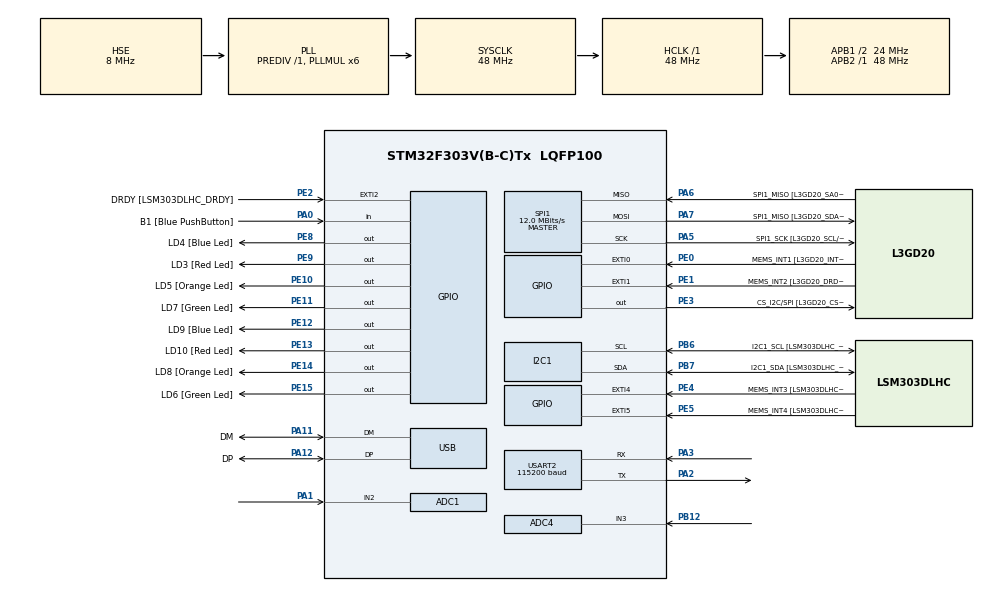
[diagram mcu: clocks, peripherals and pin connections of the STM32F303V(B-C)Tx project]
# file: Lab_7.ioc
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ADC1.Channel-0\#ChannelRegularConversion=ADC_CHANNEL_2
ADC1.ContinuousConvMode=ENABLE
ADC1.NbrOfConversion=1
ADC1.NbrOfConversionFlag=1
ADC1.Offset-0\#ChannelRegularConversion=0
ADC1.OffsetNumber-0\#ChannelRegularConversion=ADC_OFFSET_NONE
ADC1.Rank-0\#ChannelRegularConversion=1
ADC1.SamplingTime-0\#ChannelRegularConversion=ADC_SAMPLETIME_601CYCLES_5
ADC1.SamplingTimeOPAMP-0\#ChannelRegularConversion=ADC_SAMPLETIME_19CYCLES_5
ADC1.master=1
ADC4.Channel-0\#ChannelRegularConversion=ADC_CHANNEL_3
ADC4.ContinuousConvMode=ENABLE
ADC4.NbrOfConversionFlag=1
ADC4.Offset-0\#ChannelRegularConversion=0
ADC4.OffsetNumber-0\#ChannelRegularConversion=ADC_OFFSET_NONE
ADC4.Rank-0\#ChannelRegularConversion=1
ADC4.SamplingTime-0\#ChannelRegularConversion=ADC_SAMPLETIME_601CYCLES_5
ADC4.SamplingTimeOPAMP-0\#ChannelRegularConversion=ADC_SAMPLETIME_19CYCLES_5
I2C1.Timing=0x2000090E
I2C1.Timing-I2C=0x2000090E
Mcu.Family=STM32F3
Mcu.Name=STM32F303V(B-C)Tx
Mcu.Package=LQFP100
NVIC.ADC1_2_IRQn=true\:0\:0\:false\:false\:true\:true\:true\:true
NVIC.PriorityGroup=NVIC_PRIORITYGROUP_0
PA0.GPIO_Label=B1 [Blue PushButton]
PA0.Signal=GPIO_Input
PA1.Mode=IN2-Single-Ended
PA1.Signal=ADC1_IN2
PA11.GPIO_Label=DM
PA11.Mode=Device
PA11.Signal=USB_DM
PA12.GPIO_Label=DP
PA12.Mode=Device
PA12.Signal=USB_DP
PA13.GPIO_Label=SWDIO
PA13.Mode=Serial_Wire
PA13.Signal=SYS_JTMS-SWDIO
PA14.GPIO_Label=SWCLK
PA14.Mode=Serial_Wire
PA14.Signal=SYS_JTCK-SWCLK
PA2.Mode=Asynchronous
PA2.Signal=USART2_TX
PA3.Mode=Asynchronous
PA3.Signal=USART2_RX
PA5.GPIO_Label=SPI1_SCK [L3GD20_SCL/SPC]
PA5.Mode=Full_Duplex_Master
PA5.Signal=SPI1_SCK
PA6.GPIO_Label=SPI1_MISO [L3GD20_SA0/SDO]
PA6.Mode=Full_Duplex_Master
PA6.Signal=SPI1_MISO
PA7.GPIO_Label=SPI1_MISO [L3GD20_SDA/SDI/SDO]
PA7.Mode=Full_Duplex_Master
PA7.Signal=SPI1_MOSI
PB12.Mode=IN3-Single-Ended
PB12.Signal=ADC4_IN3
PB3.GPIO_Label=SWO
PB3.Signal=SYS_JTDO-TRACESWO
PB6.GPIO_Label=I2C1_SCL [LSM303DLHC_SCL]
PB6.GPIO_Pu=GPIO_PULLUP
PB6.Mode=I2C
PB6.Signal=I2C1_SCL
PB7.GPIO_Label=I2C1_SDA [LSM303DLHC_SDA]
PB7.GPIO_Pu=GPIO_PULLUP
PB7.Mode=I2C
PB7.Signal=I2C1_SDA
PC14-OSC32_IN.GPIO_Label=OSC32_IN
PC14-OSC32_IN.Signal=RCC_OSC32_IN
PC15-OSC32_OUT.GPIO_Label=OSC32_OUT
PC15-OSC32_OUT.Signal=RCC_OSC32_OUT
PE0.GPIO_Label=MEMS_INT1 [L3GD20_INT1]
PE0.GPIO_ModeDefaultEXTI=GPIO_MODE_EVT_RISING
PE0.Signal=GPXTI0
PE1.GPIO_Label=MEMS_INT2 [L3GD20_DRDY/INT2]
PE1.GPIO_ModeDefaultEXTI=GPIO_MODE_EVT_RISING
PE1.Signal=GPXTI1
PE10.GPIO_Label=LD5 [Orange Led]
PE10.Signal=GPIO_Output
PE11.GPIO_Label=LD7 [Green Led]
PE11.Signal=GPIO_Output
PE12.GPIO_Label=LD9 [Blue Led]
PE12.Signal=GPIO_Output
PE13.GPIO_Label=LD10 [Red Led]
PE13.Signal=GPIO_Output
PE14.GPIO_Label=LD8 [Orange Led]
PE14.Signal=GPIO_Output
PE15.GPIO_Label=LD6 [Green Led]
PE15.Signal=GPIO_Output
PE2.GPIO_Label=DRDY [LSM303DLHC_DRDY]
PE2.GPIO_ModeDefaultEXTI=GPIO_MODE_EVT_RISING
PE2.Signal=GPXTI2
PE3.GPIO_Label=CS_I2C/SPI [L3GD20_CS_I2C/SPI]
PE3.Signal=GPIO_Output
PE4.GPIO_Label=MEMS_INT3 [LSM303DLHC_INT1]
PE4.GPIO_ModeDefaultEXTI=GPIO_MODE_EVT_RISING
PE4.Signal=GPXTI4
PE5.GPIO_Label=MEMS_INT4 [LSM303DLHC_INT2]
PE5.GPIO_ModeDefaultEXTI=GPIO_MODE_EVT_RISING
PE5.Signal=GPXTI5
PE8.GPIO_Label=LD4 [Blue Led]
PE8.Signal=GPIO_Output
PE9.GPIO_Label=LD3 [Red Led]
PE9.Signal=GPIO_Output
PF0-OSC_IN.GPIO_Label=OSC_IN
PF0-OSC_IN.Mode=HSE-External-Clock-Source
PF0-OSC_IN.Signal=RCC_OSC_IN
PF1-OSC_OUT.GPIO_Label=OSC_OUT
PF1-OSC_OUT.Signal=RCC_OSC_OUT
ProjectManager.HeapSize=0x200
ProjectManager.StackSize=0x400
ProjectManager.TargetToolchain=CMake
RCC.AHBFreq_Value=48000000
RCC.APB1CLKDivider=RCC_HCLK_DIV2
RCC.APB1Freq_Value=24000000
RCC.APB1TimFreq_Value=48000000
RCC.APB2Freq_Value=48000000
RCC.APB2TimFreq_Value=48000000
RCC.CortexFreq_Value=48000000
RCC.HCLKFreq_Value=48000000
RCC.HSE_VALUE=8000000
RCC.HSI_VALUE=8000000
RCC.LSE_VALUE=32768
RCC.PLLMUL=RCC_PLL_MUL6
RCC.SYSCLKFreq_VALUE=48000000
RCC.SYSCLKSourceVirtual=RCC_SYSCLKSOURCE_PLLCLK
RCC.USBFreq_Value=48000000
SPI1.BaudRatePrescaler=SPI_BAUDRATEPRESCALER_4
SPI1.BaudRatePrescaler-Full_Duplex_Master=SPI_BAUDRATEPRESCALER_2
SPI1.CalculateBaudRate=12.0 MBits/s
SPI1.CalculateBaudRate-Full_Duplex_Master=24.0 MBits/s
SPI1.Direction=SPI_DIRECTION_2LINES
SPI1.Mode=SPI_MODE_MASTER
SPI1.Mode-Full_Duplex_Master=SPI_MODE_MASTER
SPI1.VirtualType=VM_MASTER
STMicroelectronics.X-CUBE-ALGOBUILD.1.4.0.LibraryCcDSPOoLibraryJjDSPOoLibrary=true
USART2.BaudRate=115200
USART2.VirtualMode-Asynchronous=VM_ASYNC
VP_STMicroelectronics.X-CUBE-ALGOBUILD_VS_DSPOoLibraryJjLibrary_1.4.0_1.4.0.Mode=DSPOoLibraryJjLibrary
board=STM32F3DISCOVERY

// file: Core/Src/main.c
/* USER CODE BEGIN Header */
/**
  ******************************************************************************
  * @file           : main.c
  * @brief          : Main program body
  ******************************************************************************
  * @attention
  *
  * Copyright (c) 2026 STMicroelectronics.
  * All rights reserved.
  *
  * This software is licensed under terms that can be found in the LICENSE file
  * in the root directory of this software component.
  * If no LICENSE file comes with this software, it is provided AS-IS.
  *
  ******************************************************************************
  */
/* USER CODE END Header */
#include "main.h"

/* USER CODE BEGIN Includes */
#include "stdarg.h"
#include "stdio.h"
#include "stm32f3xx_hal.h"
#include <strings.h>
#include <string.h>
#include "arm_math.h"
/* USER CODE END Includes */

ADC_HandleTypeDef hadc1;
ADC_HandleTypeDef hadc4;

I2C_HandleTypeDef hi2c1;

SPI_HandleTypeDef hspi1;

UART_HandleTypeDef huart2;

PCD_HandleTypeDef hpcd_USB_FS;

void SystemClock_Config(void);
static void MX_GPIO_Init(void);
static void MX_ADC1_Init(void);
static void MX_I2C1_Init(void);
static void MX_SPI1_Init(void);
static void MX_USART2_UART_Init(void);
static void MX_USB_PCD_Init(void);
static void MX_ADC4_Init(void);

/* USER CODE BEGIN 0 */

void myPrintf(const char* fmt, ...)
{
  char buffer[512];

  // Step 2: Initialize the variadic argument list.
  va_list args;
  va_start(args, fmt);

  // Step 3: Format the final string using vsnprintf.
  // vsnprintf is "v" (takes a va_list) and "n" (prevents buffer overflow).
  int length = vsnprintf(buffer, sizeof(buffer), fmt, args);

  // Clean up the variadic argument list
  va_end(args);

  // Step 4: Transmit the string over UART using HAL_UART_Transmit.
  // We cast buffer to (uint8_t*) as required by the HAL library.
  if (length > 0) {
      HAL_UART_Transmit(&huart2, (uint8_t*)buffer, (uint16_t)length, HAL_MAX_DELAY);
  }
};

// TASK 1 WITH INTERRUPT;
// float voltage;
// uint32_t adcValue;
// /* This function is called automatically when the ADC finishes */
// void HAL_ADC_ConvCpltCallback(ADC_HandleTypeDef* hadc)
// {
//     if(hadc->Instance == ADC1)
//     {
//       adcValue = HAL_ADC_GetValue(hadc);

//       voltage = (float)adcValue * (3.3f / 4095.0f);

//       myPrintf("Interrupt Voltage: %0.2fV , Interrupt ADC: %4u\r\n", voltage, adcValue);
//     }
// }

//Task 2
#define FILTER_LEN 10
float32_t inputBuffer[FILTER_LEN] = {0};
uint16_t bufferIndex = 0;
float32_t filteredOutput = 0;
float32_t rawVoltage = 0;
uint32_t rawADC;
void apply_moving_average(float32_t new_sample) {
    // 1. Insert new sample into circular buffer
    inputBuffer[bufferIndex] = new_sample;
    bufferIndex = (bufferIndex + 1) % FILTER_LEN; // Increment and wrap around

    // 2. Use CMSIS-DSP to calculate the mean
    // This is optimized for the ARM Cortex-M4 hardware
    arm_mean_f32(inputBuffer, FILTER_LEN, &filteredOutput);
}

// Task 2
void HAL_ADC_ConvCpltCallback(ADC_HandleTypeDef* hadc) {
    if (hadc->Instance == ADC1) {
        rawADC = HAL_ADC_GetValue(hadc);
        rawVoltage = (float32_t)rawADC * (3.3f / 4095.0f);

        apply_moving_average(rawVoltage);

        myPrintf("%0.3f,%0.3f\r\n", rawVoltage, filteredOutput);
    }
}

/* USER CODE END 0 */

int main(void)
{

  /* MCU Configuration--------------------------------------------------------*/

  /* Reset of all peripherals, Initializes the Flash interface and the Systick. */
  HAL_Init();

  /* USER CODE BEGIN Init */
  HAL_ADC_Init(&hadc1);
  /* USER CODE END Init */

  /* Configure the system clock */
  SystemClock_Config();

  /* Initialize all configured peripherals */
  MX_GPIO_Init();
  MX_ADC1_Init();
  MX_I2C1_Init();
  MX_SPI1_Init();
  MX_USART2_UART_Init();
  MX_USB_PCD_Init();
  MX_ADC4_Init();
  /* USER CODE BEGIN 2 */
  HAL_ADC_Start_IT(&hadc1);
  /* USER CODE END 2 */

  /* Infinite loop */
  while (1)
  {

    /* USER CODE BEGIN 3 */
    // TASK 1 WITH POLLING
    // // 1. Start ADC conversion
    // HAL_ADC_Start(&hadc4);

    // // 2. Wait for conversion to finish (Timeout: 10ms)
    // if (HAL_ADC_PollForConversion(&hadc4, 10) == HAL_OK)
    // {
    //     // 3. Read the digital value
    //     adcValue = HAL_ADC_GetValue(&hadc4);
    //     voltage = adcValue * (3.3f / 4095.0f);
    //     myPrintf("ADC: %u, Voltage: %0.9f\r\n", adcValue, voltage);
    // }

    // // 5. Stop ADC and add a small delay for readability
    // HAL_ADC_Stop(&hadc4);
    // HAL_Delay(200);

    //Task 1 With Interrupt;
    //HAL_Delay(200);

    //Task 2 With Polling;
  //   HAL_ADC_Start(&hadc4); // Using ADC4 for polling as requested
  //   if (HAL_ADC_PollForConversion(&hadc4, 10) == HAL_OK) {
  //       uint32_t rawADC = HAL_ADC_GetValue(&hadc4);
  //       rawVoltage = rawADC * (3.3f / 4095.0f);

  //       apply_moving_average(rawVoltage);

  //       // Format for Python script: "Raw,Filtered\n"
  //       myPrintf("%0.3f,%0.3f\r\n", rawVoltage, filteredOutput);
  //   }
  //   HAL_ADC_Stop(&hadc4);
  //   HAL_Delay(1); // Adjust delay to match your required sampling rate
  // }
  //Task 2 With Interupts;
  HAL_Delay(20);

  /* USER CODE END 3 */
}
}

void SystemClock_Config(void)
{
  RCC_OscInitTypeDef RCC_OscInitStruct = {0};
  RCC_ClkInitTypeDef RCC_ClkInitStruct = {0};
  RCC_PeriphCLKInitTypeDef PeriphClkInit = {0};

  /** Initializes the RCC Oscillators according to the specified parameters
  * in the RCC_OscInitTypeDef structure.
  */
  RCC_OscInitStruct.OscillatorType = RCC_OSCILLATORTYPE_HSI|RCC_OSCILLATORTYPE_HSE;
  RCC_OscInitStruct.HSEState = RCC_HSE_BYPASS;
  RCC_OscInitStruct.HSEPredivValue = RCC_HSE_PREDIV_DIV1;
  RCC_OscInitStruct.HSIState = RCC_HSI_ON;
  RCC_OscInitStruct.HSICalibrationValue = RCC_HSICALIBRATION_DEFAULT;
  RCC_OscInitStruct.PLL.PLLState = RCC_PLL_ON;
  RCC_OscInitStruct.PLL.PLLSource = RCC_PLLSOURCE_HSE;
  RCC_OscInitStruct.PLL.PLLMUL = RCC_PLL_MUL6;
  if (HAL_RCC_OscConfig(&RCC_OscInitStruct) != HAL_OK)
  {
    Error_Handler();
  }

  /** Initializes the CPU, AHB and APB buses clocks
  */
  RCC_ClkInitStruct.ClockType = RCC_CLOCKTYPE_HCLK|RCC_CLOCKTYPE_SYSCLK
                              |RCC_CLOCKTYPE_PCLK1|RCC_CLOCKTYPE_PCLK2;
  RCC_ClkInitStruct.SYSCLKSource = RCC_SYSCLKSOURCE_PLLCLK;
  RCC_ClkInitStruct.AHBCLKDivider = RCC_SYSCLK_DIV1;
  RCC_ClkInitStruct.APB1CLKDivider = RCC_HCLK_DIV2;
  RCC_ClkInitStruct.APB2CLKDivider = RCC_HCLK_DIV1;

  if (HAL_RCC_ClockConfig(&RCC_ClkInitStruct, FLASH_LATENCY_1) != HAL_OK)
  {
    Error_Handler();
  }
  PeriphClkInit.PeriphClockSelection = RCC_PERIPHCLK_USB|RCC_PERIPHCLK_USART2
                              |RCC_PERIPHCLK_I2C1|RCC_PERIPHCLK_ADC12
                              |RCC_PERIPHCLK_ADC34;
  PeriphClkInit.Usart2ClockSelection = RCC_USART2CLKSOURCE_PCLK1;
  PeriphClkInit.Adc12ClockSelection = RCC_ADC12PLLCLK_DIV1;
  PeriphClkInit.Adc34ClockSelection = RCC_ADC34PLLCLK_DIV1;
  PeriphClkInit.I2c1ClockSelection = RCC_I2C1CLKSOURCE_HSI;
  PeriphClkInit.USBClockSelection = RCC_USBCLKSOURCE_PLL;
  if (HAL_RCCEx_PeriphCLKConfig(&PeriphClkInit) != HAL_OK)
  {
    Error_Handler();
  }
}

static void MX_ADC1_Init(void)
{

  ADC_MultiModeTypeDef multimode = {0};
  ADC_ChannelConfTypeDef sConfig = {0};

  /** Common config
  */
  hadc1.Instance = ADC1;
  hadc1.Init.ClockPrescaler = ADC_CLOCK_ASYNC_DIV1;
  hadc1.Init.Resolution = ADC_RESOLUTION_12B;
  hadc1.Init.ScanConvMode = ADC_SCAN_DISABLE;
  hadc1.Init.ContinuousConvMode = ENABLE;
  hadc1.Init.DiscontinuousConvMode = DISABLE;
  hadc1.Init.ExternalTrigConvEdge = ADC_EXTERNALTRIGCONVEDGE_NONE;
  hadc1.Init.ExternalTrigConv = ADC_SOFTWARE_START;
  hadc1.Init.DataAlign = ADC_DATAALIGN_RIGHT;
  hadc1.Init.NbrOfConversion = 1;
  hadc1.Init.DMAContinuousRequests = DISABLE;
  hadc1.Init.EOCSelection = ADC_EOC_SINGLE_CONV;
  hadc1.Init.LowPowerAutoWait = DISABLE;
  hadc1.Init.Overrun = ADC_OVR_DATA_OVERWRITTEN;
  if (HAL_ADC_Init(&hadc1) != HAL_OK)
  {
    Error_Handler();
  }

  /** Configure the ADC multi-mode
  */
  multimode.Mode = ADC_MODE_INDEPENDENT;
  if (HAL_ADCEx_MultiModeConfigChannel(&hadc1, &multimode) != HAL_OK)
  {
    Error_Handler();
  }

  /** Configure Regular Channel
  */
  sConfig.Channel = ADC_CHANNEL_2;
  sConfig.Rank = ADC_REGULAR_RANK_1;
  sConfig.SingleDiff = ADC_SINGLE_ENDED;
  sConfig.SamplingTime = ADC_SAMPLETIME_61CYCLES_5;
  sConfig.OffsetNumber = ADC_OFFSET_NONE;
  sConfig.Offset = 0;
  if (HAL_ADC_ConfigChannel(&hadc1, &sConfig) != HAL_OK)
  {
    Error_Handler();
  }

}

static void MX_ADC4_Init(void)
{

  ADC_ChannelConfTypeDef sConfig = {0};

  /** Common config
  */
  hadc4.Instance = ADC4;
  hadc4.Init.ClockPrescaler = ADC_CLOCK_ASYNC_DIV1;
  hadc4.Init.Resolution = ADC_RESOLUTION_12B;
  hadc4.Init.ScanConvMode = ADC_SCAN_DISABLE;
  hadc4.Init.ContinuousConvMode = ENABLE;
  hadc4.Init.DiscontinuousConvMode = DISABLE;
  hadc4.Init.ExternalTrigConvEdge = ADC_EXTERNALTRIGCONVEDGE_NONE;
  hadc4.Init.ExternalTrigConv = ADC_SOFTWARE_START;
  hadc4.Init.DataAlign = ADC_DATAALIGN_RIGHT;
  hadc4.Init.NbrOfConversion = 1;
  hadc4.Init.DMAContinuousRequests = DISABLE;
  hadc4.Init.EOCSelection = ADC_EOC_SINGLE_CONV;
  hadc4.Init.LowPowerAutoWait = DISABLE;
  hadc4.Init.Overrun = ADC_OVR_DATA_OVERWRITTEN;
  if (HAL_ADC_Init(&hadc4) != HAL_OK)
  {
    Error_Handler();
  }

  /** Configure Regular Channel
  */
  sConfig.Channel = ADC_CHANNEL_3;
  sConfig.Rank = ADC_REGULAR_RANK_1;
  sConfig.SingleDiff = ADC_SINGLE_ENDED;
  sConfig.SamplingTime = ADC_SAMPLETIME_601CYCLES_5;
  sConfig.OffsetNumber = ADC_OFFSET_NONE;
  sConfig.Offset = 0;
  if (HAL_ADC_ConfigChannel(&hadc4, &sConfig) != HAL_OK)
  {
    Error_Handler();
  }

}

static void MX_I2C1_Init(void)
{

  hi2c1.Instance = I2C1;
  hi2c1.Init.Timing = 0x2000090E;
  hi2c1.Init.OwnAddress1 = 0;
  hi2c1.Init.AddressingMode = I2C_ADDRESSINGMODE_7BIT;
  hi2c1.Init.DualAddressMode = I2C_DUALADDRESS_DISABLE;
  hi2c1.Init.OwnAddress2 = 0;
  hi2c1.Init.OwnAddress2Masks = I2C_OA2_NOMASK;
  hi2c1.Init.GeneralCallMode = I2C_GENERALCALL_DISABLE;
  hi2c1.Init.NoStretchMode = I2C_NOSTRETCH_DISABLE;
  if (HAL_I2C_Init(&hi2c1) != HAL_OK)
  {
    Error_Handler();
  }

  /** Configure Analogue filter
  */
  if (HAL_I2CEx_ConfigAnalogFilter(&hi2c1, I2C_ANALOGFILTER_ENABLE) != HAL_OK)
  {
    Error_Handler();
  }

  /** Configure Digital filter
  */
  if (HAL_I2CEx_ConfigDigitalFilter(&hi2c1, 0) != HAL_OK)
  {
    Error_Handler();
  }

}

static void MX_SPI1_Init(void)
{

  /* SPI1 parameter configuration*/
  hspi1.Instance = SPI1;
  hspi1.Init.Mode = SPI_MODE_MASTER;
  hspi1.Init.Direction = SPI_DIRECTION_2LINES;
  hspi1.Init.DataSize = SPI_DATASIZE_4BIT;
  hspi1.Init.CLKPolarity = SPI_POLARITY_LOW;
  hspi1.Init.CLKPhase = SPI_PHASE_1EDGE;
  hspi1.Init.NSS = SPI_NSS_SOFT;
  hspi1.Init.BaudRatePrescaler = SPI_BAUDRATEPRESCALER_4;
  hspi1.Init.FirstBit = SPI_FIRSTBIT_MSB;
  hspi1.Init.TIMode = SPI_TIMODE_DISABLE;
  hspi1.Init.CRCCalculation = SPI_CRCCALCULATION_DISABLE;
  hspi1.Init.CRCPolynomial = 7;
  hspi1.Init.CRCLength = SPI_CRC_LENGTH_DATASIZE;
  hspi1.Init.NSSPMode = SPI_NSS_PULSE_ENABLE;
  if (HAL_SPI_Init(&hspi1) != HAL_OK)
  {
    Error_Handler();
  }

}

static void MX_USART2_UART_Init(void)
{

  huart2.Instance = USART2;
  huart2.Init.BaudRate = 115200;
  huart2.Init.WordLength = UART_WORDLENGTH_8B;
  huart2.Init.StopBits = UART_STOPBITS_1;
  huart2.Init.Parity = UART_PARITY_NONE;
  huart2.Init.Mode = UART_MODE_TX_RX;
  huart2.Init.HwFlowCtl = UART_HWCONTROL_NONE;
  huart2.Init.OverSampling = UART_OVERSAMPLING_16;
  huart2.Init.OneBitSampling = UART_ONE_BIT_SAMPLE_DISABLE;
  huart2.AdvancedInit.AdvFeatureInit = UART_ADVFEATURE_NO_INIT;
  if (HAL_UART_Init(&huart2) != HAL_OK)
  {
    Error_Handler();
  }

}

static void MX_USB_PCD_Init(void)
{

  hpcd_USB_FS.Instance = USB;
  hpcd_USB_FS.Init.dev_endpoints = 8;
  hpcd_USB_FS.Init.speed = PCD_SPEED_FULL;
  hpcd_USB_FS.Init.phy_itface = PCD_PHY_EMBEDDED;
  hpcd_USB_FS.Init.low_power_enable = DISABLE;
  hpcd_USB_FS.Init.battery_charging_enable = DISABLE;
  if (HAL_PCD_Init(&hpcd_USB_FS) != HAL_OK)
  {
    Error_Handler();
  }

}

static void MX_GPIO_Init(void)
{
  GPIO_InitTypeDef GPIO_InitStruct = {0};

  /* GPIO Ports Clock Enable */
  __HAL_RCC_GPIOE_CLK_ENABLE();
  __HAL_RCC_GPIOC_CLK_ENABLE();
  __HAL_RCC_GPIOF_CLK_ENABLE();
  __HAL_RCC_GPIOA_CLK_ENABLE();
  __HAL_RCC_GPIOB_CLK_ENABLE();

  /*Configure GPIO pin Output Level */
  HAL_GPIO_WritePin(GPIOE, CS_I2C_SPI_Pin|LD4_Pin|LD3_Pin|LD5_Pin
                          |LD7_Pin|LD9_Pin|LD10_Pin|LD8_Pin
                          |LD6_Pin, GPIO_PIN_RESET);

  /*Configure GPIO pins : DRDY_Pin MEMS_INT3_Pin MEMS_INT4_Pin MEMS_INT1_Pin
                           MEMS_INT2_Pin */
  GPIO_InitStruct.Pin = DRDY_Pin|MEMS_INT3_Pin|MEMS_INT4_Pin|MEMS_INT1_Pin
                          |MEMS_INT2_Pin;
  GPIO_InitStruct.Mode = GPIO_MODE_EVT_RISING;
  GPIO_InitStruct.Pull = GPIO_NOPULL;
  HAL_GPIO_Init(GPIOE, &GPIO_InitStruct);

  /*Configure GPIO pins : CS_I2C_SPI_Pin LD4_Pin LD3_Pin LD5_Pin
                           LD7_Pin LD9_Pin LD10_Pin LD8_Pin
                           LD6_Pin */
  GPIO_InitStruct.Pin = CS_I2C_SPI_Pin|LD4_Pin|LD3_Pin|LD5_Pin
                          |LD7_Pin|LD9_Pin|LD10_Pin|LD8_Pin
                          |LD6_Pin;
  GPIO_InitStruct.Mode = GPIO_MODE_OUTPUT_PP;
  GPIO_InitStruct.Pull = GPIO_NOPULL;
  GPIO_InitStruct.Speed = GPIO_SPEED_FREQ_LOW;
  HAL_GPIO_Init(GPIOE, &GPIO_InitStruct);

  /*Configure GPIO pin : B1_Pin */
  GPIO_InitStruct.Pin = B1_Pin;
  GPIO_InitStruct.Mode = GPIO_MODE_INPUT;
  GPIO_InitStruct.Pull = GPIO_NOPULL;
  HAL_GPIO_Init(B1_GPIO_Port, &GPIO_InitStruct);

}

void Error_Handler(void)
{
  __disable_irq();
  while (1)
  {
  }
}
